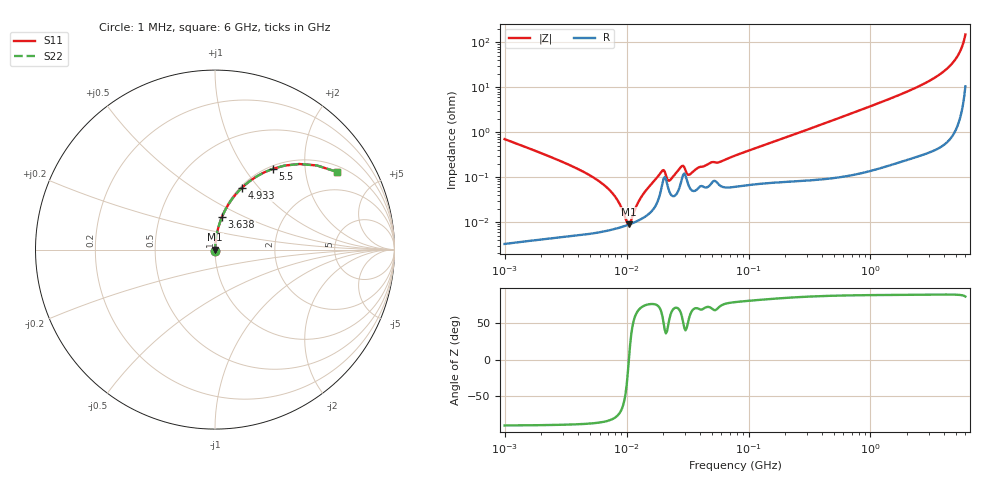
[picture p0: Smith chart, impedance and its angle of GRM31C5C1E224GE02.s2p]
!Murata Part Number: GRM31C5C1E224GE02
!These Parameters are Measured in Series Mode Connection
!Data Generated on Mar 30, 2021
!  o--ll--o
!Port1  Port2
!  o------o
!Operation Temp=25[degC], DC Bias Voltage=0[V]
!Freq. Start=1000[kHz] Stop=6[GHz] 401[Steps]
# Hz S RI R 50
!Freq.(Hz) S11(Real) S11(Imag) S21(Real) S21(Imag) S12(Real) S12(Imag) S22(Real) S22(Imag)
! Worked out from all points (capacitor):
!   401 points, 1 MHz to 6 GHz, reference 50 ohm
!   read as one part in series: C = 225 nF near 1.044 MHz
!   lowest |Z| = 8.82 mohm at 10.47 MHz (marker M1)
!   series resonance near 10.44 MHz, so ESL is about 1 nH
!   S11 on the Smith chart (normalised r, x): 1 MHz: 1.00, -0.01; 3.638 GHz: 1.01, +0.38; 4.933 GHz: 1.02, +0.82; 5.5 GHz: 1.05, +1.37; 6 GHz: 1.21, +2.99
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1000000  8.19e-05 -0.00702  0.9999 0.00702  0.9999 0.00702  8.19e-05 -0.00702
4293785  5.36e-05 -0.00137  0.9999 0.00137  0.9999 0.00137  5.36e-05 -0.00137
5950055  5.96e-05 -0.000809  0.9999 0.000809  0.9999 0.000809  5.96e-05 -0.000809
7395623  6.67e-05 -0.000483  0.9999 0.000483  0.9999 0.000483  6.67e-05 -0.000483
8426497  7.29e-05 -0.000298  0.9999 0.000298  0.9999 0.000298  7.29e-05 -0.000298
9812162  8.27e-05 -8.68e-05  0.9999 8.68e-05  0.9999 8.68e-05  8.27e-05 -8.68e-05
1.047372e7  8.81e-05 4.1e-06  0.9999 -4.1e-06  0.9999 -4.1e-06  8.81e-05 4.1e-06
1.093935e7  9.22e-05 6.53e-05  0.9999 -6.53e-05  0.9999 -6.53e-05  9.22e-05 6.53e-05
1.330454e7  0.000118 0.000355  0.9999 -0.000355  0.9999 -0.000355  0.000118 0.000355
1.843659e7  0.000349 0.00106  0.9997 -0.00106  0.9997 -0.00106  0.000349 0.00106
2.011232e7  0.000916 0.0011  0.9991 -0.0011  0.9991 -0.0011  0.000916 0.0011
2.242276e7  0.000478 0.000682  0.9995 -0.000682  0.9995 -0.000682  0.000478 0.000682
2.848316e7  0.000935 0.00151  0.9991 -0.00151  0.9991 -0.00151  0.000935 0.00151
3.316698e7  0.000563 0.00101  0.9994 -0.00101  0.9994 -0.00101  0.000563 0.00101
3.947016e7  0.000604 0.00155  0.9994 -0.00155  0.9994 -0.00155  0.000604 0.00155
7.745967e7  0.000616 0.00295  0.9994 -0.00295  0.9994 -0.00295  0.000616 0.00295
3.325952e8  0.00101 0.0124  0.999 -0.0124  0.999 -0.0124  0.00101 0.0124
1.428092e9  0.00482 0.0547  0.9952 -0.0547  0.9952 -0.0547  0.00482 0.0547
3.638376e9  0.0381 0.18  0.9619 -0.18  0.9619 -0.18  0.0381 0.18
4.93336e9  0.1491 0.3436  0.8509 -0.3436  0.8509 -0.3436  0.1491 0.3436
5.500089e9  0.3246 0.4511  0.6754 -0.4511  0.6754 -0.4511  0.3246 0.4511
6e9  0.6809 0.4324  0.3191 -0.4324  0.3191 -0.4324  0.6809 0.4324
